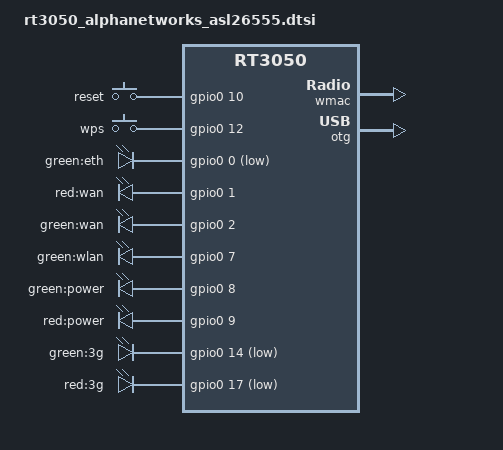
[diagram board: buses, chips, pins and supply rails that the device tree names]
#include "rt3050.dtsi"

#include <dt-bindings/gpio/gpio.h>
#include <dt-bindings/input/input.h>

/ {
	compatible = "alphanetworks,asl26555", "ralink,rt3050-soc";

	aliases {
		led-boot = &led_power_green;
		led-failsafe = &led_power_green;
		led-running = &led_power_green;
		led-upgrade = &led_power_green;
	};

	keys {
		compatible = "gpio-keys-polled";
		poll-interval = <20>;

		reset {
			label = "reset";
			gpios = <&gpio0 10 GPIO_ACTIVE_HIGH>;
			linux,code = <KEY_RESTART>;
		};

		wps {
			label = "wps";
			gpios = <&gpio0 12 GPIO_ACTIVE_HIGH>;
			linux,code = <KEY_WPS_BUTTON>;
		};
	};

	leds {
		compatible = "gpio-leds";

		eth {
			label = "green:eth";
			gpios = <&gpio0 0 GPIO_ACTIVE_LOW>;
		};

		wan-red {
			label = "red:wan";
			gpios = <&gpio0 1 GPIO_ACTIVE_HIGH>;
		};

		wan-green {
			label = "green:wan";
			gpios = <&gpio0 2 GPIO_ACTIVE_HIGH>;
		};

		wlan {
			label = "green:wlan";
			gpios = <&gpio0 7 GPIO_ACTIVE_HIGH>;
		};

		led_power_green: power-green {
			label = "green:power";
			gpios = <&gpio0 8 GPIO_ACTIVE_HIGH>;
		};

		power-red {
			label = "red:power";
			gpios = <&gpio0 9 GPIO_ACTIVE_HIGH>;
		};

		3g-green {
			label = "green:3g";
			gpios = <&gpio0 14 GPIO_ACTIVE_LOW>;
			trigger-sources = <&otg_port1>;
			linux,default-trigger = "usbport";
		};

		3g-red {
			label = "red:3g";
			gpios = <&gpio0 17 GPIO_ACTIVE_LOW>;
		};
	};
};

&state_default {
	gpio {
		groups = "i2c", "jtag", "rgmii", "mdio", "uartf";
		function = "gpio";
	};
};

&esw {
	mediatek,portmap = <0x1e>;
};

&wmac {
	ralink,mtd-eeprom = <&devdata 0x4000>;
};

&otg {
	status = "okay";
};
